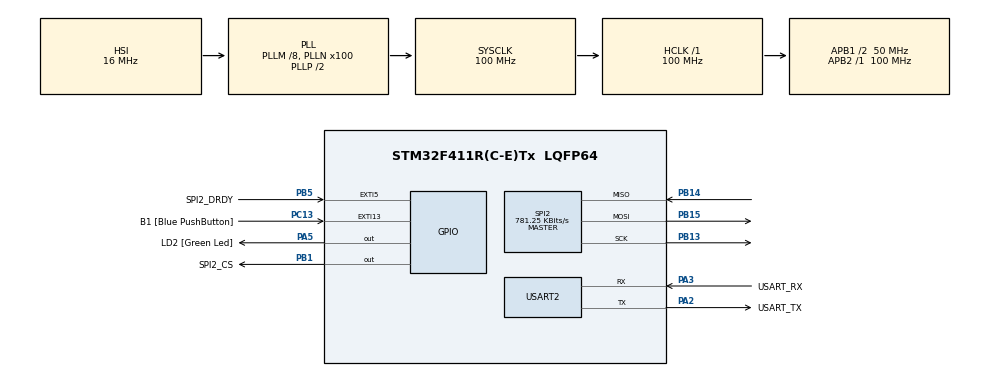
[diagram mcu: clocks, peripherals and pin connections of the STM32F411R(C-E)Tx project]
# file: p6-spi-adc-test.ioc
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Dma.Request0=SPI2_RX
Dma.Request1=SPI2_TX
Dma.SPI2_RX.0.Direction=DMA_PERIPH_TO_MEMORY
Dma.SPI2_RX.0.FIFOMode=DMA_FIFOMODE_ENABLE
Dma.SPI2_RX.0.FIFOThreshold=DMA_FIFO_THRESHOLD_FULL
Dma.SPI2_RX.0.Instance=DMA1_Stream3
Dma.SPI2_RX.0.MemBurst=DMA_MBURST_SINGLE
Dma.SPI2_RX.0.MemDataAlignment=DMA_MDATAALIGN_BYTE
Dma.SPI2_RX.0.MemInc=DMA_MINC_ENABLE
Dma.SPI2_RX.0.Mode=DMA_NORMAL
Dma.SPI2_RX.0.PeriphBurst=DMA_PBURST_SINGLE
Dma.SPI2_RX.0.PeriphDataAlignment=DMA_PDATAALIGN_BYTE
Dma.SPI2_RX.0.PeriphInc=DMA_PINC_DISABLE
Dma.SPI2_RX.0.Priority=DMA_PRIORITY_VERY_HIGH
Dma.SPI2_TX.1.Direction=DMA_MEMORY_TO_PERIPH
Dma.SPI2_TX.1.FIFOMode=DMA_FIFOMODE_ENABLE
Dma.SPI2_TX.1.FIFOThreshold=DMA_FIFO_THRESHOLD_FULL
Dma.SPI2_TX.1.Instance=DMA1_Stream4
Dma.SPI2_TX.1.MemBurst=DMA_MBURST_SINGLE
Dma.SPI2_TX.1.MemDataAlignment=DMA_MDATAALIGN_BYTE
Dma.SPI2_TX.1.MemInc=DMA_MINC_ENABLE
Dma.SPI2_TX.1.Mode=DMA_NORMAL
Dma.SPI2_TX.1.PeriphBurst=DMA_PBURST_SINGLE
Dma.SPI2_TX.1.PeriphDataAlignment=DMA_PDATAALIGN_BYTE
Dma.SPI2_TX.1.PeriphInc=DMA_PINC_DISABLE
Dma.SPI2_TX.1.Priority=DMA_PRIORITY_VERY_HIGH
Mcu.Family=STM32F4
Mcu.Name=STM32F411R(C-E)Tx
Mcu.Package=LQFP64
NVIC.DMA1_Stream3_IRQn=true\:0\:0\:false\:false\:true\:false\:true
NVIC.DMA1_Stream4_IRQn=true\:0\:0\:false\:false\:true\:false\:true
NVIC.EXTI15_10_IRQn=true\:0\:0\:false\:false\:true\:true\:true
NVIC.EXTI9_5_IRQn=true\:0\:0\:false\:false\:true\:true\:true
NVIC.PriorityGroup=NVIC_PRIORITYGROUP_0
NVIC.SPI2_IRQn=true\:0\:0\:false\:false\:true\:true\:true
NVIC.TIM4_IRQn=true\:0\:0\:false\:false\:true\:true\:true
PA13.GPIO_Label=TMS
PA13.Mode=Serial_Wire
PA13.Signal=SYS_JTMS-SWDIO
PA14.GPIO_Label=TCK
PA14.Mode=Serial_Wire
PA14.Signal=SYS_JTCK-SWCLK
PA2.GPIO_Label=USART_TX
PA2.Mode=Asynchronous
PA2.Signal=USART2_TX
PA3.GPIO_Label=USART_RX
PA3.Mode=Asynchronous
PA3.Signal=USART2_RX
PA5.GPIO_Label=LD2 [Green Led]
PA5.Signal=GPIO_Output
PB1.GPIO_Label=SPI2_CS
PB1.Signal=GPIO_Output
PB13.Mode=Full_Duplex_Master
PB13.Signal=SPI2_SCK
PB14.Mode=Full_Duplex_Master
PB14.Signal=SPI2_MISO
PB15.Mode=Full_Duplex_Master
PB15.Signal=SPI2_MOSI
PB3.GPIO_Label=SWO
PB3.Signal=SYS_JTDO-SWO
PB5.GPIO_Label=SPI2_DRDY
PB5.GPIO_ModeDefaultEXTI=GPIO_MODE_IT_FALLING
PB5.Signal=GPXTI5
PC13-ANTI_TAMP.GPIO_Label=B1 [Blue PushButton]
PC13-ANTI_TAMP.GPIO_ModeDefaultEXTI=GPIO_MODE_IT_FALLING
PC13-ANTI_TAMP.Signal=GPXTI13
PC14-OSC32_IN.Mode=LSE-External-Oscillator
PC14-OSC32_IN.Signal=RCC_OSC32_IN
PC15-OSC32_OUT.Mode=LSE-External-Oscillator
PC15-OSC32_OUT.Signal=RCC_OSC32_OUT
PH0\ -\ OSC_IN.Mode=HSE-External-Clock-Source
PH0\ -\ OSC_IN.Signal=RCC_OSC_IN
PH1\ -\ OSC_OUT.Mode=HSE-External-Clock-Source
PH1\ -\ OSC_OUT.Signal=RCC_OSC_OUT
ProjectManager.HeapSize=0x200
ProjectManager.StackSize=0x400
ProjectManager.TargetToolchain=MDK-ARM V5
RCC.48MHZClocksFreq_Value=50000000
RCC.AHBFreq_Value=100000000
RCC.APB1CLKDivider=RCC_HCLK_DIV2
RCC.APB1Freq_Value=50000000
RCC.APB1TimFreq_Value=100000000
RCC.APB2Freq_Value=100000000
RCC.APB2TimFreq_Value=100000000
RCC.CortexFreq_Value=100000000
RCC.FLatency-AdvancedSettings=FLASH_LATENCY_3
RCC.HCLKFreq_Value=100000000
RCC.HSE_VALUE=8000000
RCC.HSI_VALUE=16000000
RCC.PLLM=8
RCC.PLLN=100
RCC.SYSCLKFreq_VALUE=100000000
RCC.SYSCLKSource=RCC_SYSCLKSOURCE_PLLCLK
RCC.VCOOutputFreq_Value=200000000
SPI2.BaudRatePrescaler=SPI_BAUDRATEPRESCALER_64
SPI2.CLKPhase=SPI_PHASE_2EDGE
SPI2.CalculateBaudRate=781.25 KBits/s
SPI2.Direction=SPI_DIRECTION_2LINES
SPI2.Mode=SPI_MODE_MASTER
SPI2.VirtualType=VM_MASTER
TIM4.Period=100-1
TIM4.Prescaler=1000-1
USART2.VirtualMode=VM_ASYNC
VP_TIM4_VS_ClockSourceINT.Mode=Internal
board=NUCLEO-F411RE

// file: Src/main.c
/* USER CODE BEGIN Header */
/**
  ******************************************************************************
  * @file           : main.c
  * @brief          : Main program body
  ******************************************************************************
  * @attention
  *
  * <h2><center>&copy; Copyright (c) 2020 STMicroelectronics.
  * All rights reserved.</center></h2>
  *
  * This software component is licensed by ST under BSD 3-Clause license,
  * the "License"; You may not use this file except in compliance with the
  * License. You may obtain a copy of the License at:
  *                        opensource.org/licenses/BSD-3-Clause
  *
  ******************************************************************************
  */
/* USER CODE END Header */

#include "main.h"

/* USER CODE BEGIN Includes */
#include <stdio.h>
#include "ads1255.h"
/* USER CODE END Includes */

SPI_HandleTypeDef hspi2;
DMA_HandleTypeDef hdma_spi2_rx;
DMA_HandleTypeDef hdma_spi2_tx;

TIM_HandleTypeDef htim4;

UART_HandleTypeDef huart2;

/* USER CODE BEGIN PV */
ADS125X_t adc1;
volatile uint8_t semaphoreNewData;
volatile uint8_t dmaTx[16];
volatile uint8_t dmaRx[8];
volatile int32_t adsCode;
volatile uint8_t dmaOffset;
volatile uint8_t dmaTxState;
float volts;

// enum dmaState_t {dmaState_SetChannel, dmaState_Wakeup, dmaState_Rdata, dmaState_Rx};

/* USER CODE END PV */

void SystemClock_Config(void);
static void MX_GPIO_Init(void);
static void MX_DMA_Init(void);
static void MX_SPI2_Init(void);
static void MX_USART2_UART_Init(void);
static void MX_TIM4_Init(void);

/* USER CODE BEGIN 0 */
struct __FILE{
  int handle;
  /* Whatever you require here. If the only file you are using is */
  /* standard output using printf() for debugging, no file handling */
  /* is required. */
};

FILE __stdout;

int fputc(int ch, FILE *f){
    HAL_UART_Transmit(&huart2, (uint8_t *)&ch, 1, 0xFFFF);
  return ch;
}

int ferror(FILE *f){
  /* Your implementation of ferror(). */
  return 0;
}
/* PRINTF REDIRECT to UART END */

/* USER CODE END 0 */
int main(void)
{

  /* MCU Configuration--------------------------------------------------------*/

  /* Reset of all peripherals, Initializes the Flash interface and the Systick. */
  HAL_Init();

  /* USER CODE BEGIN Init */
	semaphoreNewData = 1;
  /* USER CODE END Init */

  /* Configure the system clock */
  SystemClock_Config();

  /* Initialize all configured peripherals */
  MX_GPIO_Init();
  MX_DMA_Init();
  MX_SPI2_Init();
  MX_USART2_UART_Init();
  MX_TIM4_Init();
  /* USER CODE BEGIN 2 */

	adc1.csPort = *SPI2_CS_GPIO_Port;
	adc1.csPin  = SPI2_CS_Pin;
	adc1.drdyPort = *SPI2_DRDY_GPIO_Port;
	adc1.drdyPin  = SPI2_DRDY_Pin;
	adc1.vref = 2.5f;
	adc1.oscFreq = ADS125X_OSC_FREQ;
	adc1.hspix = &hspi2;

	// CHANNEL 0/1
	dmaTx[0] = ADS125X_CMD_WREG | ADS125X_REG_MUX;
	dmaTx[1] = 0x00;
	dmaTx[2] = ADS125X_MUXP_AIN0 | ADS125X_MUXN_AIN1;
	dmaTx[3] = ADS125X_CMD_SYNC;
	dmaTx[4] = ADS125X_CMD_WAKEUP;
	dmaTx[5] = ADS125X_CMD_RDATA;

	// CHANNEL 2/3
	dmaTx[6]  = ADS125X_CMD_WREG | ADS125X_REG_MUX;
	dmaTx[7]  = 0x00;
	dmaTx[8]  = ADS125X_MUXP_AIN2 | ADS125X_MUXN_AIN3;
	dmaTx[9]  = ADS125X_CMD_SYNC;
	dmaTx[10] = ADS125X_CMD_WAKEUP;
	dmaTx[11] = ADS125X_CMD_RDATA;

	printf("\n");
	printf("config...\n");
	ADS125X_Init(&adc1, &hspi2, ADS125X_DRATE_2_5SPS, ADS125X_PGA1, 0);
	printf("...done\n");

	dmaOffset = 0;
	semaphoreNewData = 0;

	/*
	HAL_SPI_Transmit_IT(&hspi2, (uint8_t*)&dmaTx[5+dmaOffset], 1);  // RDATA
	for(uint32_t i=0; i<0xfff; i++);
	HAL_SPI_Receive_IT(&hspi2,  (uint8_t*)&dmaRx[0], 3);
	for(uint32_t i=0; i<0xfff; i++);
	adsCode = (dmaRx[0] << 16) | (dmaRx[1] << 8) | (dmaRx[2]);
	if(adsCode & 0x800000) adsCode |= 0xff000000;  // fix 2's complement
	*/
	dmaTxState = 0;
	__HAL_GPIO_EXTI_CLEAR_IT(EXTI15_10_IRQn);
  /* USER CODE END 2 */

  /* Infinite loop */
  while (1)
  {

    /* USER CODE BEGIN 3 */

		while(semaphoreNewData == 0);
		semaphoreNewData = 0;
		volts = ( (float)adsCode * (2.0f * 2.5f) ) / ( 1.0f * 8388607.0f );  // 0x7fffff = 8388607.0f
		if(dmaOffset == 0){
			printf("%.5f\n", volts);
		} else {
			printf("%.5f \t", volts);
		}

  }
  /* USER CODE END 3 */
}

void SystemClock_Config(void)
{
  RCC_OscInitTypeDef RCC_OscInitStruct = {0};
  RCC_ClkInitTypeDef RCC_ClkInitStruct = {0};

  /** Configure the main internal regulator output voltage
  */
  __HAL_RCC_PWR_CLK_ENABLE();
  __HAL_PWR_VOLTAGESCALING_CONFIG(PWR_REGULATOR_VOLTAGE_SCALE1);
  /** Initializes the CPU, AHB and APB busses clocks
  */
  RCC_OscInitStruct.OscillatorType = RCC_OSCILLATORTYPE_HSI;
  RCC_OscInitStruct.HSIState = RCC_HSI_ON;
  RCC_OscInitStruct.HSICalibrationValue = RCC_HSICALIBRATION_DEFAULT;
  RCC_OscInitStruct.PLL.PLLState = RCC_PLL_ON;
  RCC_OscInitStruct.PLL.PLLSource = RCC_PLLSOURCE_HSI;
  RCC_OscInitStruct.PLL.PLLM = 8;
  RCC_OscInitStruct.PLL.PLLN = 100;
  RCC_OscInitStruct.PLL.PLLP = RCC_PLLP_DIV2;
  RCC_OscInitStruct.PLL.PLLQ = 4;
  if (HAL_RCC_OscConfig(&RCC_OscInitStruct) != HAL_OK)
  {
    Error_Handler();
  }
  /** Initializes the CPU, AHB and APB busses clocks
  */
  RCC_ClkInitStruct.ClockType = RCC_CLOCKTYPE_HCLK|RCC_CLOCKTYPE_SYSCLK
                              |RCC_CLOCKTYPE_PCLK1|RCC_CLOCKTYPE_PCLK2;
  RCC_ClkInitStruct.SYSCLKSource = RCC_SYSCLKSOURCE_PLLCLK;
  RCC_ClkInitStruct.AHBCLKDivider = RCC_SYSCLK_DIV1;
  RCC_ClkInitStruct.APB1CLKDivider = RCC_HCLK_DIV2;
  RCC_ClkInitStruct.APB2CLKDivider = RCC_HCLK_DIV1;

  if (HAL_RCC_ClockConfig(&RCC_ClkInitStruct, FLASH_LATENCY_3) != HAL_OK)
  {
    Error_Handler();
  }
}

static void MX_SPI2_Init(void)
{

  /* SPI2 parameter configuration*/
  hspi2.Instance = SPI2;
  hspi2.Init.Mode = SPI_MODE_MASTER;
  hspi2.Init.Direction = SPI_DIRECTION_2LINES;
  hspi2.Init.DataSize = SPI_DATASIZE_8BIT;
  hspi2.Init.CLKPolarity = SPI_POLARITY_LOW;
  hspi2.Init.CLKPhase = SPI_PHASE_2EDGE;
  hspi2.Init.NSS = SPI_NSS_SOFT;
  hspi2.Init.BaudRatePrescaler = SPI_BAUDRATEPRESCALER_32;
  hspi2.Init.FirstBit = SPI_FIRSTBIT_MSB;
  hspi2.Init.TIMode = SPI_TIMODE_DISABLE;
  hspi2.Init.CRCCalculation = SPI_CRCCALCULATION_DISABLE;
  hspi2.Init.CRCPolynomial = 10;
  if (HAL_SPI_Init(&hspi2) != HAL_OK)
  {
    Error_Handler();
  }

}

static void MX_TIM4_Init(void)
{

  TIM_ClockConfigTypeDef sClockSourceConfig = {0};
  TIM_MasterConfigTypeDef sMasterConfig = {0};

  htim4.Instance = TIM4;
  htim4.Init.Prescaler = 1000-1;
  htim4.Init.CounterMode = TIM_COUNTERMODE_UP;
  htim4.Init.Period = 100-1;
  htim4.Init.ClockDivision = TIM_CLOCKDIVISION_DIV1;
  htim4.Init.AutoReloadPreload = TIM_AUTORELOAD_PRELOAD_DISABLE;
  if (HAL_TIM_Base_Init(&htim4) != HAL_OK)
  {
    Error_Handler();
  }
  sClockSourceConfig.ClockSource = TIM_CLOCKSOURCE_INTERNAL;
  if (HAL_TIM_ConfigClockSource(&htim4, &sClockSourceConfig) != HAL_OK)
  {
    Error_Handler();
  }
  sMasterConfig.MasterOutputTrigger = TIM_TRGO_RESET;
  sMasterConfig.MasterSlaveMode = TIM_MASTERSLAVEMODE_DISABLE;
  if (HAL_TIMEx_MasterConfigSynchronization(&htim4, &sMasterConfig) != HAL_OK)
  {
    Error_Handler();
  }

}

static void MX_USART2_UART_Init(void)
{

  huart2.Instance = USART2;
  huart2.Init.BaudRate = 115200;
  huart2.Init.WordLength = UART_WORDLENGTH_8B;
  huart2.Init.StopBits = UART_STOPBITS_1;
  huart2.Init.Parity = UART_PARITY_NONE;
  huart2.Init.Mode = UART_MODE_TX_RX;
  huart2.Init.HwFlowCtl = UART_HWCONTROL_NONE;
  huart2.Init.OverSampling = UART_OVERSAMPLING_16;
  if (HAL_UART_Init(&huart2) != HAL_OK)
  {
    Error_Handler();
  }

}

static void MX_DMA_Init(void)
{
  /* DMA controller clock enable */
  __HAL_RCC_DMA1_CLK_ENABLE();

  /* DMA interrupt init */
  /* DMA1_Stream3_IRQn interrupt configuration */
  HAL_NVIC_SetPriority(DMA1_Stream3_IRQn, 0, 0);
  HAL_NVIC_EnableIRQ(DMA1_Stream3_IRQn);
  /* DMA1_Stream4_IRQn interrupt configuration */
  HAL_NVIC_SetPriority(DMA1_Stream4_IRQn, 0, 0);
  HAL_NVIC_EnableIRQ(DMA1_Stream4_IRQn);

}

static void MX_GPIO_Init(void)
{
  GPIO_InitTypeDef GPIO_InitStruct = {0};

  /* GPIO Ports Clock Enable */
  __HAL_RCC_GPIOC_CLK_ENABLE();
  __HAL_RCC_GPIOH_CLK_ENABLE();
  __HAL_RCC_GPIOA_CLK_ENABLE();
  __HAL_RCC_GPIOB_CLK_ENABLE();

  /*Configure GPIO pin Output Level */
  HAL_GPIO_WritePin(LD2_GPIO_Port, LD2_Pin, GPIO_PIN_RESET);

  /*Configure GPIO pin Output Level */
  HAL_GPIO_WritePin(SPI2_CS_GPIO_Port, SPI2_CS_Pin, GPIO_PIN_RESET);

  /*Configure GPIO pin : B1_Pin */
  GPIO_InitStruct.Pin = B1_Pin;
  GPIO_InitStruct.Mode = GPIO_MODE_IT_FALLING;
  GPIO_InitStruct.Pull = GPIO_NOPULL;
  HAL_GPIO_Init(B1_GPIO_Port, &GPIO_InitStruct);

  /*Configure GPIO pin : LD2_Pin */
  GPIO_InitStruct.Pin = LD2_Pin;
  GPIO_InitStruct.Mode = GPIO_MODE_OUTPUT_PP;
  GPIO_InitStruct.Pull = GPIO_NOPULL;
  GPIO_InitStruct.Speed = GPIO_SPEED_FREQ_LOW;
  HAL_GPIO_Init(LD2_GPIO_Port, &GPIO_InitStruct);

  /*Configure GPIO pin : SPI2_CS_Pin */
  GPIO_InitStruct.Pin = SPI2_CS_Pin;
  GPIO_InitStruct.Mode = GPIO_MODE_OUTPUT_PP;
  GPIO_InitStruct.Pull = GPIO_NOPULL;
  GPIO_InitStruct.Speed = GPIO_SPEED_FREQ_LOW;
  HAL_GPIO_Init(SPI2_CS_GPIO_Port, &GPIO_InitStruct);

  /*Configure GPIO pin : SPI2_DRDY_Pin */
  GPIO_InitStruct.Pin = SPI2_DRDY_Pin;
  GPIO_InitStruct.Mode = GPIO_MODE_IT_FALLING;
  GPIO_InitStruct.Pull = GPIO_NOPULL;
  HAL_GPIO_Init(SPI2_DRDY_GPIO_Port, &GPIO_InitStruct);

  /* EXTI interrupt init*/
  HAL_NVIC_SetPriority(EXTI9_5_IRQn, 0, 0);
  HAL_NVIC_EnableIRQ(EXTI9_5_IRQn);

  HAL_NVIC_SetPriority(EXTI15_10_IRQn, 0, 0);
  HAL_NVIC_EnableIRQ(EXTI15_10_IRQn);

}

void Error_Handler(void)
{
}

/************************ (C) COPYRIGHT STMicroelectronics *****END OF FILE****/
